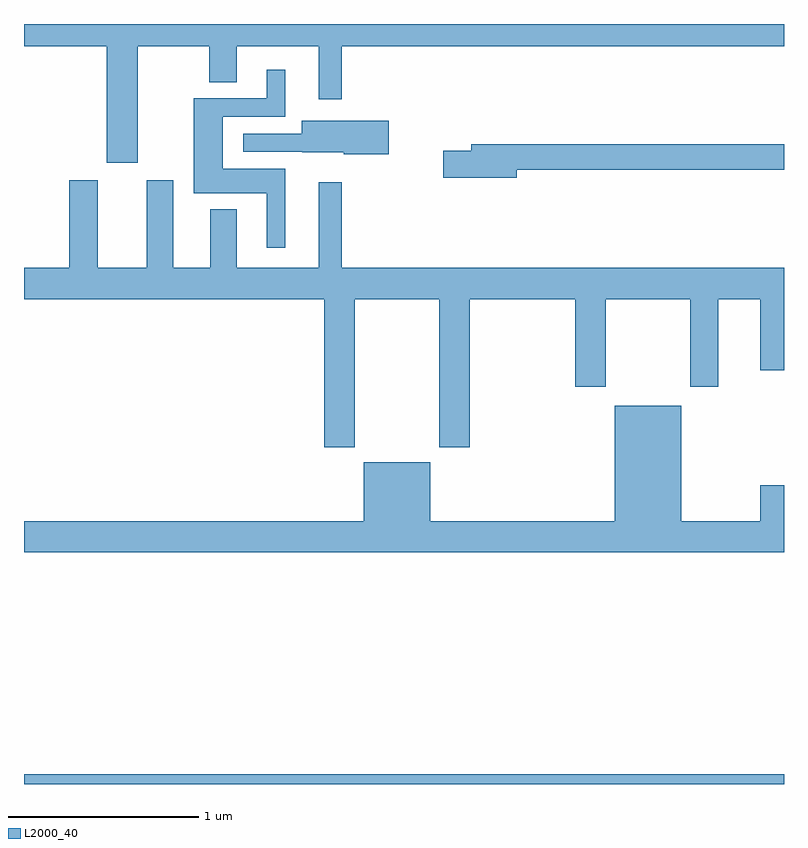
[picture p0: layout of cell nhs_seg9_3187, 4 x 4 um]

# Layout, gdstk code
import gdstk
lib = gdstk.Library(unit=1e-6, precision=1e-09)
def R(c, l, rs):  # rectangles x0, y0, x1, y1
    for r in rs: c.add(gdstk.rectangle(r[:2], r[2:], *l))
def P(c, l, *ps):  # polygons
    for p in ps: c.add(gdstk.Polygon(p, *l))
L2000_40 = (2000, 40)

nhs_seg9_3187 = lib.new_cell('nhs_seg9_3187')
R(nhs_seg9_3187, L2000_40, [(293,1228.5,297,1228.552)])
P(nhs_seg9_3187, L2000_40, [(297,1232.5),(293,1232.5),(293,1232.384),(293.435,1232.384),(293.435,1231.77),(293.599,1231.77),(293.599,1232.384),(293.974,1232.384),(293.974,1232.194),(294.121,1232.194),(294.121,1232.384),(294.551,1232.384),(294.551,1232.103),(294.673,1232.103),(294.673,1232.384),(297,1232.384)],
  [(294.376,1231.738),(294.046,1231.738),(294.046,1232.013),(294.376,1232.013),(294.376,1232.26),(294.278,1232.26),(294.278,1232.109),(293.893,1232.109),(293.893,1231.61),(294.278,1231.61),(294.278,1231.323),(294.376,1231.323)],
  [(294.919,1231.992),(294.461,1231.992),(294.461,1231.923),(294.153,1231.923),(294.153,1231.827),(294.465,1231.827),(294.465,1231.826),(294.684,1231.826),(294.684,1231.814),(294.919,1231.814)],
  [(295.594,1231.732),(297,1231.732),(297,1231.868),(295.355,1231.868),(295.355,1231.832),(295.206,1231.832),(295.206,1231.69),(295.594,1231.69)],
  [(294.741,1231.052),(295.186,1231.052),(295.186,1230.273),(295.346,1230.273),(295.346,1231.052),(295.901,1231.052),(295.901,1230.591),(296.061,1230.591),(296.061,1231.052),(296.506,1231.052),(296.506,1230.591),(296.653,1230.591),(296.653,1231.052),(296.876,1231.052),(296.876,1230.678),(297,1230.678),(297,1231.216),(294.673,1231.216),(294.673,1231.666),(294.551,1231.666),(294.551,1231.216),(294.121,1231.216),(294.121,1231.525),(293.981,1231.525),(293.981,1231.216),(293.785,1231.216),(293.785,1231.678),(293.645,1231.678),(293.645,1231.216),(293.389,1231.216),(293.389,1231.678),(293.237,1231.678),(293.237,1231.216),(293,1231.216),(293,1231.052),(294.581,1231.052),(294.581,1230.273),(294.741,1230.273)],
  [(297,1230.073),(296.876,1230.073),(296.876,1229.884),(296.458,1229.884),(296.458,1230.49),(296.108,1230.49),(296.108,1229.884),(295.138,1229.884),(295.138,1230.193),(294.788,1230.193),(294.788,1229.884),(293,1229.884),(293,1229.72),(297,1229.72)])

lib.write_gds('nhs_seg9_3187.gds')
